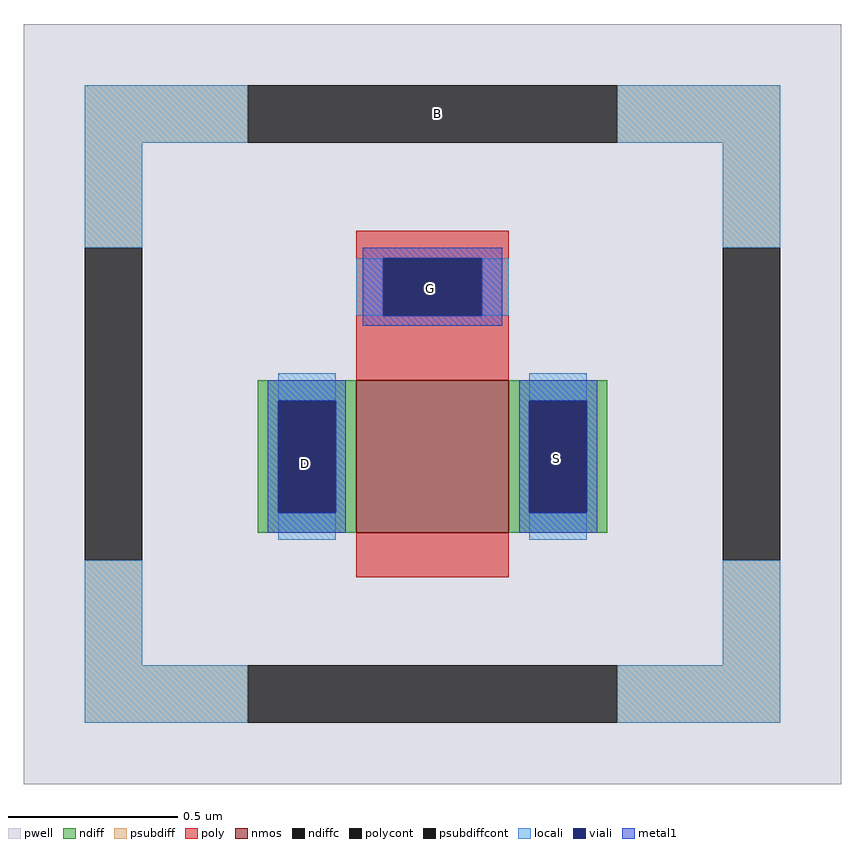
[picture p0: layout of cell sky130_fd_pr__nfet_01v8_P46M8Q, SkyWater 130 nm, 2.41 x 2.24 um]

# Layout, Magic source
magic
tech sky130A
magscale 1 2
<< pwell >>
rect -241 -224 241 224
<< nmos >>
rect -45 -76 45 14
<< ndiff >>
rect -103 2 -45 14
rect -103 -64 -91 2
rect -57 -64 -45 2
rect -103 -76 -45 -64
rect 45 2 103 14
rect 45 -64 57 2
rect 91 -64 103 2
rect 45 -76 103 -64
<< ndiffc >>
rect -91 -64 -57 2
rect 57 -64 91 2
<< psubdiff >>
rect -205 154 -109 188
rect 109 154 205 188
rect -205 92 -171 154
rect 171 92 205 154
rect -205 -154 -171 -92
rect 171 -154 205 -92
rect -205 -188 -109 -154
rect 109 -188 205 -154
<< psubdiffcont >>
rect -109 154 109 188
rect -205 -92 -171 92
rect 171 -92 205 92
rect -109 -188 109 -154
<< poly >>
rect -45 86 45 102
rect -45 52 -29 86
rect 29 52 45 86
rect -45 14 45 52
rect -45 -102 45 -76
<< polycont >>
rect -29 52 29 86
<< locali >>
rect -205 154 -109 188
rect 109 154 205 188
rect -205 92 -171 154
rect 171 92 205 154
rect -45 52 -29 86
rect 29 52 45 86
rect -91 2 -57 18
rect -91 -80 -57 -64
rect 57 2 91 18
rect 57 -80 91 -64
rect -205 -154 -171 -92
rect 171 -154 205 -92
rect -205 -188 -109 -154
rect 109 -188 205 -154
<< viali >>
rect -29 52 29 86
rect -91 -64 -57 2
rect 57 -64 91 2
<< metal1 >>
rect -41 86 41 92
rect -41 52 -29 86
rect 29 52 41 86
rect -41 46 41 52
rect -97 2 -51 14
rect -97 -64 -91 2
rect -57 -64 -51 2
rect -97 -76 -51 -64
rect 51 2 97 14
rect 51 -64 57 2
rect 91 -64 97 2
rect 51 -76 97 -64
<< labels >>
flabel metal1 s -1 68 -1 68 0 FreeSans 480 0 0 0 G
port 20 nsew
flabel metal1 s -75 -35 -75 -35 0 FreeSans 480 0 0 0 D
port 21 nsew
flabel metal1 s 73 -32 73 -32 0 FreeSans 480 0 0 0 S
port 22 nsew
flabel locali s 3 171 3 171 0 FreeSans 480 0 0 0 B
port 23 nsew
<< properties >>
string FIXED_BBOX -188 -171 188 171
string gencell sky130_fd_pr__nfet_01v8
string library sky130
string parameters w 0.45 l 0.45 m 1 nf 1 diffcov 100 polycov 100 guard 1 glc 1 grc 1 gtc 1 gbc 1 tbcov 100 rlcov 100 topc 1 botc 0 poverlap 0 doverlap 1 lmin 0.15 wmin 0.42 compatible {sky130_fd_pr__nfet_01v8 sky130_fd_pr__nfet_01v8_lvt  sky130_fd_bs_flash__special_sonosfet_star  sky130_fd_pr__nfet_g5v0d10v5 sky130_fd_pr__nfet_05v0_nvt  sky130_fd_pr__nfet_03v3_nvt} full_metal 1 viasrc 100 viadrn 100 viagate 100 viagb 0 viagr 0 viagl 0 viagt 0
<< end >>
